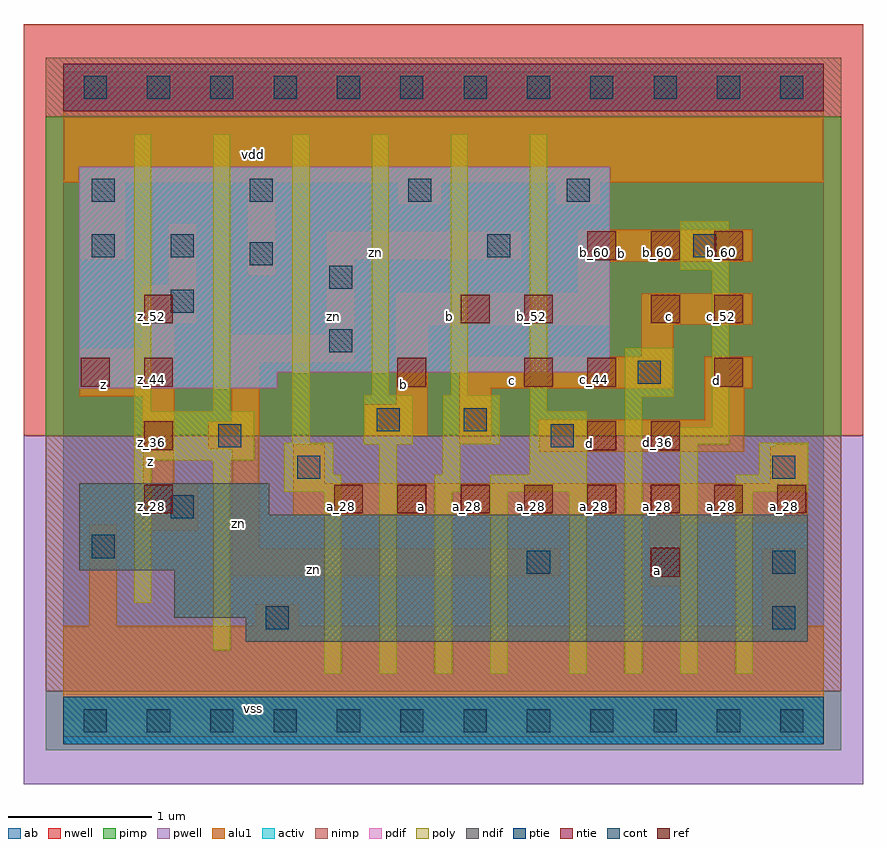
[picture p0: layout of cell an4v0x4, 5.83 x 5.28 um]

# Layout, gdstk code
import gdstk
lib = gdstk.Library(unit=1e-6, precision=2.5e-09)
def R(c, l, rs):  # rectangles x0, y0, x1, y1
    for r in rs: c.add(gdstk.rectangle(r[:2], r[2:], *l))
def A(c, l, x, y, w, h, nx, ny, dx, dy):  # array of equal rectangles
    R(c, l, [(x+i*dx, y+j*dy, x+i*dx+w, y+j*dy+h) for i in range(nx) for j in range(ny)])
ndif = (3, 0)
pdif = (4, 0)
ntie = (5, 0)
ptie = (6, 0)
ref = (24, 0)
cont = (25, 0)
pwell = (41, 0)
nwell = (42, 0)
activ = (43, 0)
pimp = (44, 0)
nimp = (45, 0)
poly = (46, 0)
alu1 = (49, 0)
ab = (63, 0)

an4v0x4 = lib.new_cell('an4v0x4')
R(an4v0x4, ndif, [(1.265,0.55,5.17,0.715), (0.77,0.715,5.17,1.045), (0.11,1.045,5.17,1.43), (0.11,1.43,1.43,1.65)])
R(an4v0x4, pdif, [(0.11,2.31,1.485,2.42), (0.11,2.42,3.795,3.85)])
R(an4v0x4, ntie, [(0,4.235,5.28,4.565)])
R(an4v0x4, ptie, [(0,-0.165,5.28,0.165)])
A(an4v0x4, ref, 4.08, 1, 0.2, 0.2, 1, 3, 0, 0.88)
A(an4v0x4, ref, 0.56, 1.44, 0.2, 0.2, 1, 4, 0, 0.44)
A(an4v0x4, ref, 1.88, 1.44, 0.2, 0.2, 8, 1, 0.44, 0)
A(an4v0x4, ref, 3.64, 3.2, 0.2, 0.2, 3, 1, 0.44, 0)
R(an4v0x4, ref, [(3.64,1.88,3.84,2.08), (0.12,2.32,0.32,2.52), (2.32,2.32,2.52,2.52), (3.2,2.32,3.4,2.52), (3.64,2.32,3.84,2.52), (4.52,2.32,4.72,2.52), (2.76,2.76,2.96,2.96), (3.2,2.76,3.4,2.96), (4.52,2.76,4.72,2.96)])
A(an4v0x4, cont, 0.14, -0.08, 0.16, 0.16, 12, 2, 0.44, 4.4)
A(an4v0x4, cont, 0.195, 3.605, 0.16, 0.16, 4, 1, 1.1, 0)
R(an4v0x4, cont, [(1.405,0.635,1.565,0.795), (4.925,0.635,5.085,0.795), (3.22,1.02,3.38,1.18), (4.925,1.02,5.085,1.18), (0.195,1.13,0.355,1.29), (0.745,1.405,0.905,1.565), (1.625,1.68,1.785,1.84), (4.925,1.68,5.085,1.84), (1.075,1.9,1.235,2.06), (3.385,1.9,3.545,2.06), (2.175,2.01,2.335,2.17), (2.78,2.01,2.94,2.17), (3.99,2.34,4.15,2.5), (1.845,2.56,2.005,2.72), (0.745,2.835,0.905,2.995), (1.845,3,2.005,3.16), (1.295,3.165,1.455,3.325), (0.195,3.22,0.355,3.38), (0.745,3.22,0.905,3.38), (2.945,3.22,3.105,3.38), (4.375,3.22,4.535,3.38)])
R(an4v0x4, pwell, [(-0.275,-0.44,5.555,1.98)])
R(an4v0x4, nwell, [(-0.275,1.98,5.555,4.84)])
R(an4v0x4, activ, [(0,-0.165,5.28,0.165), (1.265,0.55,5.17,0.715), (0.77,0.715,5.17,1.045), (0.11,1.045,5.17,1.43), (0.11,1.43,1.43,1.65), (0.11,2.31,1.485,2.42), (0.11,2.42,3.795,3.85), (0,4.235,5.28,4.565)])
R(an4v0x4, pimp, [(-0.125,-0.205,5.405,0.205), (-0.125,1.98,5.405,4.195)])
R(an4v0x4, nimp, [(-0.125,0.205,5.405,1.98), (-0.125,4.195,5.405,4.605)])
R(an4v0x4, poly, [(1.81,0.325,1.93,1.59), (2.195,0.325,2.315,1.92), (2.58,0.325,2.7,1.59), (2.965,0.325,3.085,1.59), (3.515,0.325,3.635,1.59), (3.9,0.325,4.02,2.25), (4.285,0.325,4.405,1.92), (4.67,0.325,4.79,1.59), (1.04,0.49,1.16,1.81), (0.49,0.82,0.61,1.81), (1.535,1.59,1.93,1.71), (2.58,1.59,2.755,1.71), (2.965,1.59,3.635,1.71), (4.67,1.59,5.175,1.71), (1.535,1.71,1.875,1.93), (2.635,1.71,2.755,1.92), (3.24,1.71,3.635,2.15), (4.835,1.71,5.175,1.93), (0.49,1.81,1.325,2.15), (2.085,1.92,2.425,2.26), (2.635,1.92,3.03,2.26), (4.285,1.92,4.625,2.04), (1.59,1.93,1.71,4.075), (4.505,2.04,4.625,3.13), (0.49,2.15,0.61,4.075), (1.04,2.15,1.16,4.075), (3.24,2.15,3.36,4.075), (3.9,2.25,4.24,2.59), (2.14,2.26,2.26,4.075), (2.69,2.26,2.81,4.075), (4.285,3.13,4.625,3.47)])
R(an4v0x4, alu1, [(0,-0.11,5.28,0.66), (0.18,0.66,0.37,1.36), (1.335,0.66,1.635,0.81), (4.855,0.66,5.155,1.195), (4.07,0.935,4.29,1.375), (1.17,1.005,3.45,1.195), (1.17,1.195,1.36,1.885), (0.55,1.32,0.935,1.65), (4.07,1.375,5.17,1.43), (1.595,1.43,5.17,1.65), (0.55,1.65,0.77,2.255), (1.595,1.65,1.815,1.925), (4.91,1.65,5.17,1.91), (3.3,1.87,4.73,2.09), (1.005,1.885,1.36,2.075), (4.95,1.91,5.17,1.925), (2.75,1.925,2.97,2.31), (2.09,1.98,2.53,2.2), (1.17,2.075,1.36,2.49), (4.455,2.09,4.73,2.31), (2.31,2.2,2.53,2.75), (0.11,2.255,0.77,2.585), (2.75,2.31,4.235,2.53), (4.455,2.31,4.785,2.53), (1.17,2.49,2.02,2.68), (4.015,2.53,4.235,2.75), (0.55,2.585,0.77,2.765), (1.83,2.68,2.02,3.205), (2.31,2.75,3.795,2.97), (4.015,2.75,4.785,2.97), (0.55,2.765,0.92,3.025), (3.575,2.97,3.795,3.19), (0.73,3.025,0.92,3.45), (1.28,3.095,1.47,3.74), (3.575,3.19,4.785,3.41), (0.125,3.205,0.425,3.74), (1.83,3.205,3.175,3.395), (2.325,3.59,2.625,3.74), (3.425,3.59,3.725,3.74), (0,3.74,5.28,4.51)])
R(an4v0x4, ab, [(0,0,5.28,4.4)])
an4v0x4.add(gdstk.Label('vss', (1.32,0.0825), layer=49, texttype=0))
an4v0x4.add(gdstk.Label('a', (4.125,1.045), layer=49, texttype=0))
an4v0x4.add(gdstk.Label('zn', (1.74,1.0525), layer=49, texttype=0))
an4v0x4.add(gdstk.Label('a', (2.4875,1.485), layer=49, texttype=0))
an4v0x4.add(gdstk.Label('d', (3.6575,1.925), layer=49, texttype=0))
an4v0x4.add(gdstk.Label('zn', (1.2175,1.3675), layer=49, texttype=0))
an4v0x4.add(gdstk.Label('d', (4.5375,2.365), layer=49, texttype=0))
an4v0x4.add(gdstk.Label('c', (3.12,2.365), layer=49, texttype=0))
an4v0x4.add(gdstk.Label('b', (2.365,2.3375), layer=49, texttype=0))
an4v0x4.add(gdstk.Label('c', (4.2075,2.805), layer=49, texttype=0))
an4v0x4.add(gdstk.Label('b', (2.68,2.805), layer=49, texttype=0))
an4v0x4.add(gdstk.Label('z', (0.605,1.8), layer=49, texttype=0))
an4v0x4.add(gdstk.Label('z', (0.275,2.3375), layer=49, texttype=0))
an4v0x4.add(gdstk.Label('b', (3.8775,3.245), layer=49, texttype=0))
an4v0x4.add(gdstk.Label('zn', (1.8775,2.81), layer=49, texttype=0))
an4v0x4.add(gdstk.Label('zn', (2.165,3.2525), layer=49, texttype=0))
an4v0x4.add(gdstk.Label('vdd', (1.32,3.9325), layer=49, texttype=0))
an4v0x4.add(gdstk.Label('a_28', (5.01,1.49), layer=24, texttype=0))
an4v0x4.add(gdstk.Label('b_60', (4.57,3.25), layer=24, texttype=0))
an4v0x4.add(gdstk.Label('c_52', (4.57,2.81), layer=24, texttype=0))
an4v0x4.add(gdstk.Label('d_44', (4.57,2.37), layer=24, texttype=0))
an4v0x4.add(gdstk.Label('a_28', (4.57,1.49), layer=24, texttype=0))
an4v0x4.add(gdstk.Label('b_60', (4.13,3.25), layer=24, texttype=0))
an4v0x4.add(gdstk.Label('c_52', (4.13,2.81), layer=24, texttype=0))
an4v0x4.add(gdstk.Label('d_36', (4.13,1.93), layer=24, texttype=0))
an4v0x4.add(gdstk.Label('a_28', (4.13,1.49), layer=24, texttype=0))
an4v0x4.add(gdstk.Label('a_20', (4.13,1.05), layer=24, texttype=0))
an4v0x4.add(gdstk.Label('b_60', (3.69,3.25), layer=24, texttype=0))
an4v0x4.add(gdstk.Label('c_44', (3.69,2.37), layer=24, texttype=0))
an4v0x4.add(gdstk.Label('d_36', (3.69,1.93), layer=24, texttype=0))
an4v0x4.add(gdstk.Label('a_28', (3.69,1.49), layer=24, texttype=0))
an4v0x4.add(gdstk.Label('b_52', (3.25,2.81), layer=24, texttype=0))
an4v0x4.add(gdstk.Label('c_44', (3.25,2.37), layer=24, texttype=0))
an4v0x4.add(gdstk.Label('a_28', (3.25,1.49), layer=24, texttype=0))
an4v0x4.add(gdstk.Label('b_52', (2.81,2.81), layer=24, texttype=0))
an4v0x4.add(gdstk.Label('a_28', (2.81,1.49), layer=24, texttype=0))
an4v0x4.add(gdstk.Label('b_44', (2.37,2.37), layer=24, texttype=0))
an4v0x4.add(gdstk.Label('a_28', (2.37,1.49), layer=24, texttype=0))
an4v0x4.add(gdstk.Label('z_44', (0.17,2.37), layer=24, texttype=0))
an4v0x4.add(gdstk.Label('a_28', (1.93,1.49), layer=24, texttype=0))
an4v0x4.add(gdstk.Label('z_52', (0.61,2.81), layer=24, texttype=0))
an4v0x4.add(gdstk.Label('z_44', (0.61,2.37), layer=24, texttype=0))
an4v0x4.add(gdstk.Label('z_36', (0.61,1.93), layer=24, texttype=0))
an4v0x4.add(gdstk.Label('z_28', (0.61,1.49), layer=24, texttype=0))

lib.write_gds('an4v0x4.gds')
